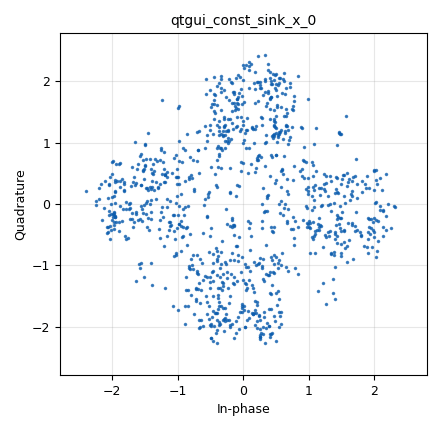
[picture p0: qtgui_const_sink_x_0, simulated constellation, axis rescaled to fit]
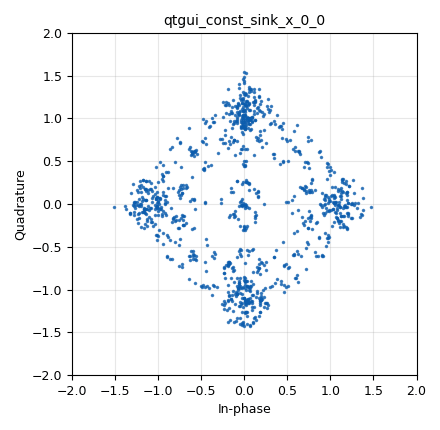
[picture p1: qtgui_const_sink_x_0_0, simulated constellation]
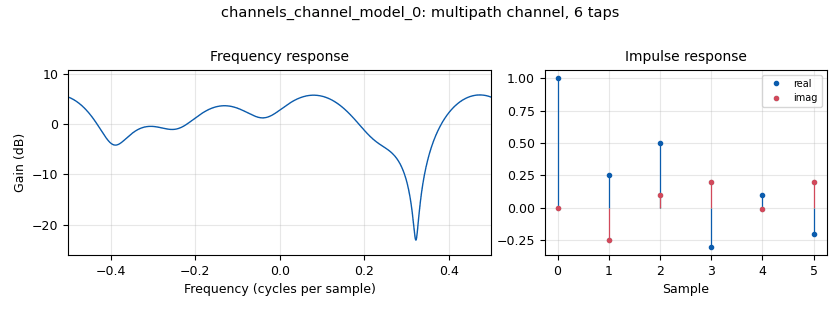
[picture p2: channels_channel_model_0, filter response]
options:
  parameters:
    author: tripp
    generate_options: qt_gui
    id: SimulatingChannela
    output_language: python
    title: Simulating Channel
  states: {}

blocks:
- name: freq_offset
  id: variable_qtgui_range
  parameters:
    label: Channel Frequency Offset
    orient: Qt.Horizontal
    start: '-0.1'
    step: '0.001'
    stop: '0.1'
    value: '0'
  states: {}
- name: noise_volt
  id: variable_qtgui_range
  parameters:
    label: Channel Noise Voltage
    orient: Qt.Horizontal
    start: '0'
    step: '0.01'
    stop: '1'
    value: '0.0001'
  states: {}
- name: samp_rate
  id: variable
  parameters:
    value: '32000'
  states: {}
- name: taps
  id: variable
  parameters:
    value: '[1.0, 0.25-0.25j, 0.5+0.1j, -0.3+0.2j, 0.1-0.01j, -0.2+0.2j]'
  states: {}
- name: time_offset
  id: variable_qtgui_range
  parameters:
    label: 'Channel: Timing Offset'
    orient: Qt.Horizontal
    start: '0.999'
    step: '0.0001'
    stop: '1.001'
    value: '1'
  states: {}
- name: analog_random_source_x_0
  id: analog_random_source_x
  parameters:
    max: '256'
    min: '0'
    num_samps: '1000'
    repeat: 'True'
    type: byte
  states: {}
- name: blocks_throttle_0
  id: blocks_throttle
  parameters:
    samples_per_second: samp_rate
    type: complex
  states: {}
- name: channels_channel_model_0
  id: channels_channel_model
  parameters:
    epsilon: time_offset
    freq_offset: freq_offset
    noise_voltage: noise_volt
    seed: '0'
    taps: taps
  states: {}
- name: digital_psk_mod_0
  id: digital_psk_mod
  parameters:
    constellation_points: '4'
    differential: 'False'
    excess_bw: '0.35'
    mod_code: '"none"'
    samples_per_symbol: '4'
  states: {}
- name: qtgui_const_sink_x_0
  id: qtgui_const_sink_x
  parameters:
    size: '1024'
    type: complex
  states: {}
- name: qtgui_const_sink_x_0_0
  id: qtgui_const_sink_x
  parameters:
    size: '1024'
    type: complex
  states: {}

connections:
- [analog_random_source_x_0, '0', digital_psk_mod_0, '0']
- [blocks_throttle_0, '0', channels_channel_model_0, '0']
- [blocks_throttle_0, '0', qtgui_const_sink_x_0_0, '0']
- [channels_channel_model_0, '0', qtgui_const_sink_x_0, '0']
- [digital_psk_mod_0, '0', blocks_throttle_0, '0']

metadata:
  file_format: 1
